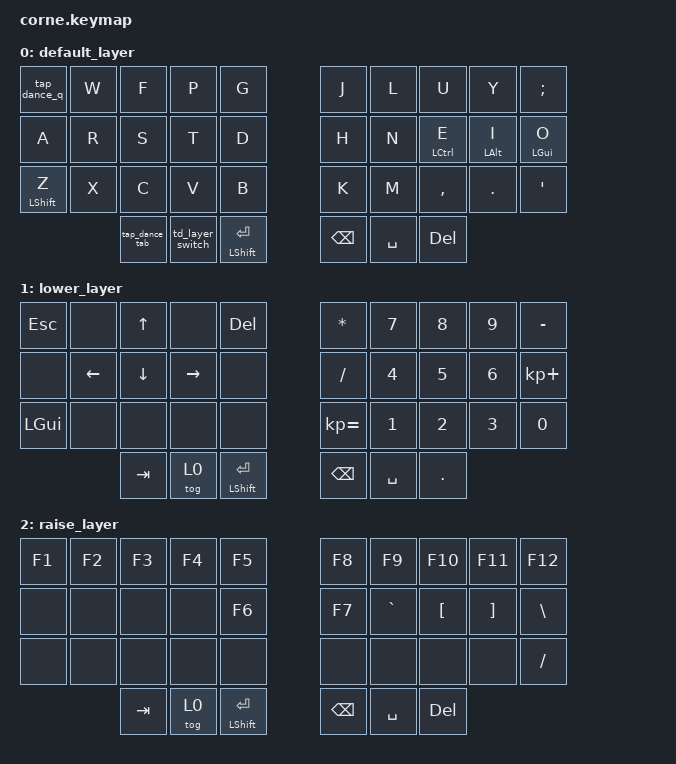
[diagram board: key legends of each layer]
/*
 * Copyright (c) 2020 The ZMK Contributors
 *
 * SPDX-License-Identifier: MIT
 */

#include <behaviors.dtsi>
#include <dt-bindings/zmk/keys.h>
#include <dt-bindings/zmk/bt.h>

/ {
    behaviors {
        tap_dance_q: tap_dance_q {
            compatible = "zmk,behavior-tap-dance";
            #binding-cells = <0>;
            bindings = <&kp Q>, <&kp ESC>;
            tapping-term-ms = <200>;
        };

        tap_dance_tab: tap_dance_tab {
            compatible = "zmk,behavior-tap-dance";
            #binding-cells = <0>;
            bindings = <&kp TAB>, <&kp CAPS>;
            tapping-term-ms = <200>;
        };

        td_layer_switch: tap_dance_layer_switch {
            compatible = "zmk,behavior-tap-dance";
            #binding-cells = <0>;
            tapping-term-ms = <200>;
            bindings = <&tog 1>, <&tog 2>;
        };
    };

    keymap {
        compatible = "zmk,keymap";

        default_layer {
            // -----------------------------------------------------------------------------------------
            // | Q/ESC |  W  |  F  |  P  |  G  |     |  J  |  L  |   U   |   Y   |   ;   |
            // |  A    |  R  |  S  |  T  |  D  |     |  H  |  N  | E/LCTRL|I/LALT |O/LGUI |
            // |Z/SHFT |  X  |  C  |  V  |  B  |     |  K  |  M  |   ,   |   .   |   '   |
            //               |TAB/CAPS | Num/Fn | ENT/SHFT |    | BSPC | SPACE | DEL |

            bindings = <
                &tap_dance_q &kp W &kp F &kp P &kp G           &kp J &kp L &kp U &kp Y &kp SEMI
                &kp A &kp R &kp S &kp T &kp D                   &kp H &kp N &mt LCTRL E &mt LALT I &mt LGUI O
                &mt LSHIFT Z &kp X &kp C &kp V &kp B           &kp K &kp M &kp COMMA &kp DOT &kp APOS
                &tap_dance_tab &td_layer_switch &mt LSHIFT ENTER &kp BSPC &kp SPACE &kp DEL
            >;
        };

        lower_layer {
            // -----------------------------------------------------------------------------------------
            // | ESC  |      |  UP  |      | DEL  |     |  *  |  7  |  8  |  9  |  -  |
            // |      | LEFT | DOWN | RIGHT |      |     |  /  |  4  |  5  |  6  |  +  |
            // | GUI  |      |      |       |      |     |  =  |  1  |  2  |  3  |  0  |
            //                 | TAB | DEF | ENT/SHFT |     | BSPC | SPACE |  .  |

            bindings = <
                &kp ESC &none &kp UP &none &kp DEL       &kp STAR &kp N7 &kp N8 &kp N9 &kp MINUS
                &none   &kp LEFT &kp DOWN &kp RIGHT &none  &kp FSLH &kp N4 &kp N5 &kp N6 &kp KP_PLUS
                &kp LGUI &none &none &none &none         &kp KP_EQUAL &kp N1 &kp N2 &kp N3 &kp N0
                      &kp TAB &tog 0 &mt LSHIFT ENTER &kp BSPC &kp SPACE &kp DOT
            >;
        };

        raise_layer {
            // -----------------------------------------------------------------------------------------
            // | F1  | F2  | F3  | F4  | F5  |     | F8  | F9   | F10  | F11  | F12  |
            // |     |     |     |     | F6  |     | F7  |  `   |  [   |  ]   |  \   |
            // |     |     |     |     |     |     |     |      |      |      |  /   |
            //             | TAB | DEF | ENT/SHFT |    | BSPC | SPACE | DEL |

            bindings = <
                &kp F1 &kp F2 &kp F3 &kp F4 &kp F5       &kp F8 &kp F9 &kp F10 &kp F11 &kp F12
                &none  &none &none &none &kp F6          &kp F7 &kp GRAVE &kp LBKT &kp RBKT &kp BSLH
                &none  &none &none &none &none           &none  &none &none &none &kp FSLH
                      &kp TAB &tog 0 &mt LSHIFT ENTER &kp BSPC &kp SPACE &kp DEL
            >;
        };
    };
};
